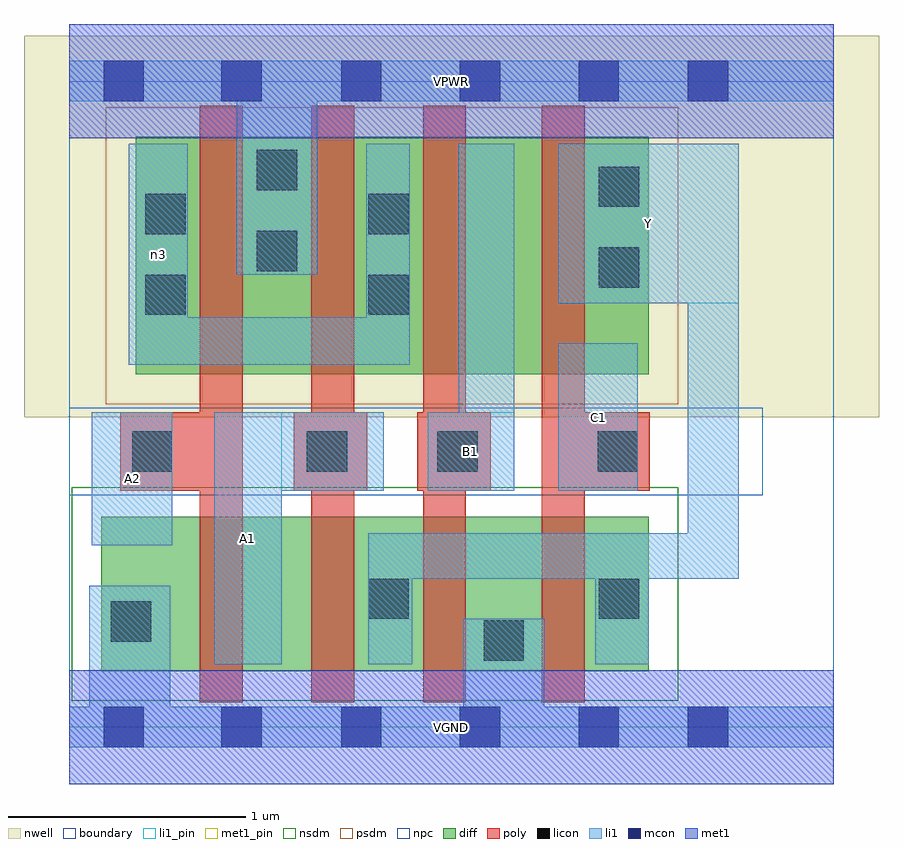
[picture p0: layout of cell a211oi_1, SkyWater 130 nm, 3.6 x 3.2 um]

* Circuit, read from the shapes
.subckt a211oi_1 A1 A2 B1 C1 VGND VPWR Y n3
XM1 n1 A2 VGND VSUBS sky130_fd_pr__nfet_01v8 w=0.65 l=0.18
XM2 Y A1 n1 VSUBS sky130_fd_pr__nfet_01v8 w=0.65 l=0.18
XM3 VGND B1 Y VSUBS sky130_fd_pr__nfet_01v8 w=0.65 l=0.18
XM4 Y C1 VGND VSUBS sky130_fd_pr__nfet_01v8 w=0.65 l=0.18
XM5 VPWR A2 n3 n2 sky130_fd_pr__pfet_01v8 w=1 l=0.18
XM6 n3 A1 VPWR n2 sky130_fd_pr__pfet_01v8 w=1 l=0.18
XM7 n4 B1 n3 n2 sky130_fd_pr__pfet_01v8 w=1 l=0.18
XM8 Y C1 n4 n2 sky130_fd_pr__pfet_01v8 w=1 l=0.18
.ends

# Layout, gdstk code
import gdstk
lib = gdstk.Library(unit=1e-6, precision=1e-09)
def R(c, l, rs):  # rectangles x0, y0, x1, y1
    for r in rs: c.add(gdstk.rectangle(r[:2], r[2:], *l))
def A(c, l, x, y, w, h, nx, ny, dx, dy):  # array of equal rectangles
    R(c, l, [(x+i*dx, y+j*dy, x+i*dx+w, y+j*dy+h) for i in range(nx) for j in range(ny)])
nwell = (64, 20)
diff = (65, 20)
poly = (66, 20)
licon = (66, 44)
li1_pin = (67, 16)
li1 = (67, 20)
mcon = (67, 44)
met1_pin = (68, 16)
met1 = (68, 20)
nsdm = (93, 44)
psdm = (94, 20)
npc = (95, 20)
boundary = (235, 4)

a211oi_1 = lib.new_cell('a211oi_1')
R(a211oi_1, nwell, [(-0.19,1.305,3.41,2.91), (0,1.305,3.22,2.91)])
R(a211oi_1, diff, [(0.135,0.235,2.44,0.885), (0.28,1.485,2.44,2.485)])
A(a211oi_1, poly, 0.55, 0.105, 0.18, 2.51, 3, 1, 0.47, 0)
R(a211oi_1, poly, [(1.99,0.105,2.17,2.615), (0.215,0.995,0.73,1.325), (0.945,0.995,1.255,1.325), (1.465,0.995,1.775,1.325), (1.99,0.995,2.445,1.325)])
R(a211oi_1, licon, [(1.745,0.28,1.915,0.45), (0.175,0.36,0.345,0.53), (1.26,0.455,1.43,0.625), (2.23,0.455,2.4,0.625), (0.265,1.075,0.435,1.245), (1,1.075,1.17,1.245), (1.55,1.075,1.72,1.245), (2.225,1.075,2.395,1.245), (0.32,1.735,0.49,1.905), (1.26,1.735,1.43,1.905), (2.23,1.85,2.4,2.02), (0.79,1.92,0.96,2.09), (0.32,2.075,0.49,2.245), (1.26,2.075,1.43,2.245), (2.23,2.19,2.4,2.36), (0.79,2.26,0.96,2.43)])
R(a211oi_1, li1_pin, [(0.61,0.265,0.895,1.325), (0.095,0.765,0.435,1.325), (1.51,0.995,1.875,1.325), (2.06,0.995,2.395,1.615), (2.06,1.785,2.82,2.455)])
R(a211oi_1, li1, [(0,-0.085,3.22,0.085), (0.085,-0.085,0.425,0.595), (1.66,-0.085,2,0.455), (0.61,0.265,0.895,1.325), (1.26,0.265,1.445,0.815), (2.215,0.265,2.44,0.815), (1.26,0.625,2.82,0.815), (2.605,0.625,2.82,2.455), (0.095,0.765,0.435,1.325), (0.61,0.995,1.325,1.325), (1.51,0.995,1.875,1.325), (1.64,0.995,1.875,2.455), (2.06,0.995,2.395,1.615), (0.25,1.525,0.5,2.455), (0.25,1.525,1.435,1.725), (1.25,1.525,1.435,2.455), (2.06,1.785,2.82,2.455), (0.705,1.905,1.045,2.805), (0,2.635,3.22,2.805)])
A(a211oi_1, mcon, 1.145, -0.085, 0.17, 0.17, 3, 2, 0.5, 2.72)
R(a211oi_1, mcon, [(0.145,-0.085,0.315,0.085), (0.64,-0.085,0.81,0.085), (2.605,-0.085,2.775,0.085), (0.145,2.635,0.315,2.805), (0.64,2.635,0.81,2.805), (2.605,2.635,2.775,2.805)])
R(a211oi_1, met1_pin, [(0,-0.24,3.22,0.24), (0,2.48,3.22,2.96)])
R(a211oi_1, met1, [(0,-0.24,3.22,0.24), (0,2.48,3.22,2.96)])
R(a211oi_1, nsdm, [(0.01,0.11,2.565,1.01)])
R(a211oi_1, psdm, [(0.155,1.36,2.565,2.61)])
R(a211oi_1, npc, [(0,0.975,2.92,1.345)])
R(a211oi_1, boundary, [(0,0,3.22,2.72)])
a211oi_1.add(gdstk.Label('A1', (0.752,0.795), layer=67, texttype=5))
a211oi_1.add(gdstk.Label('A2', (0.265,1.045), layer=67, texttype=5))
a211oi_1.add(gdstk.Label('B1', (1.692,1.16), layer=67, texttype=5))
a211oi_1.add(gdstk.Label('C1', (2.227,1.305), layer=67, texttype=5))
a211oi_1.add(gdstk.Label('Y', (2.44,2.12), layer=67, texttype=5))
a211oi_1.add(gdstk.Label('n3', (0.375,1.99), layer=67, texttype=5))
a211oi_1.add(gdstk.Label('VPWR', (1.61,2.72), layer=68, texttype=5))
a211oi_1.add(gdstk.Label('VGND', (1.61,0), layer=68, texttype=5))
a211oi_1.add(gdstk.Label('A1', (0.752,0.795), layer=67, texttype=16))
a211oi_1.add(gdstk.Label('A2', (0.265,1.045), layer=67, texttype=16))
a211oi_1.add(gdstk.Label('B1', (1.692,1.16), layer=67, texttype=16))
a211oi_1.add(gdstk.Label('C1', (2.227,1.305), layer=67, texttype=16))
a211oi_1.add(gdstk.Label('Y', (2.44,2.12), layer=67, texttype=16))
a211oi_1.add(gdstk.Label('VPWR', (1.61,2.72), layer=68, texttype=16))
a211oi_1.add(gdstk.Label('VGND', (1.61,0), layer=68, texttype=16))

lib.write_gds('a211oi_1.gds')
